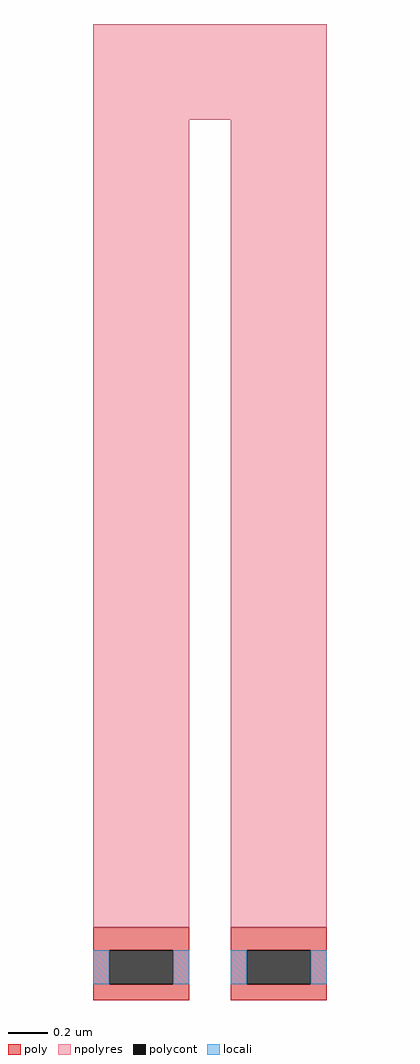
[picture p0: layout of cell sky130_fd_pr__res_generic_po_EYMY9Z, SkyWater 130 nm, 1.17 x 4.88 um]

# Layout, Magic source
magic
tech sky130B
magscale 1 2
<< poly >>
rect -117 -438 -21 -415
rect -117 -472 -101 -438
rect -37 -472 -21 -438
rect -117 -488 -21 -472
rect 21 -438 117 -415
rect 21 -472 37 -438
rect 101 -472 117 -438
rect 21 -488 117 -472
<< polycont >>
rect -101 -472 -37 -438
rect 37 -472 101 -438
<< npolyres >>
rect -117 393 117 489
rect -117 -415 -21 393
rect 21 -415 117 393
<< locali >>
rect -117 -472 -101 -438
rect -37 -472 -21 -438
rect 21 -472 37 -438
rect 101 -472 117 -438
<< properties >>
string gencell sky130_fd_pr__res_generic_po
string library sky130
string parameters w 0.48 l 4.0 m 1 nx 2 wmin 0.330 lmin 1.650 rho 48.2 val 891.7 dummy 0 dw 0.0 term 0.0 sterm 0.0 caplen 0.4 snake 1 guard 0 glc 0 grc 0 gtc 0 gbc 0 roverlap 0 endcov 100 full_metal 0 hv_guard 0 n_guard 0 vias 1 viagb 0 viagt 0 viagl 0 viagr 0
<< end >>
